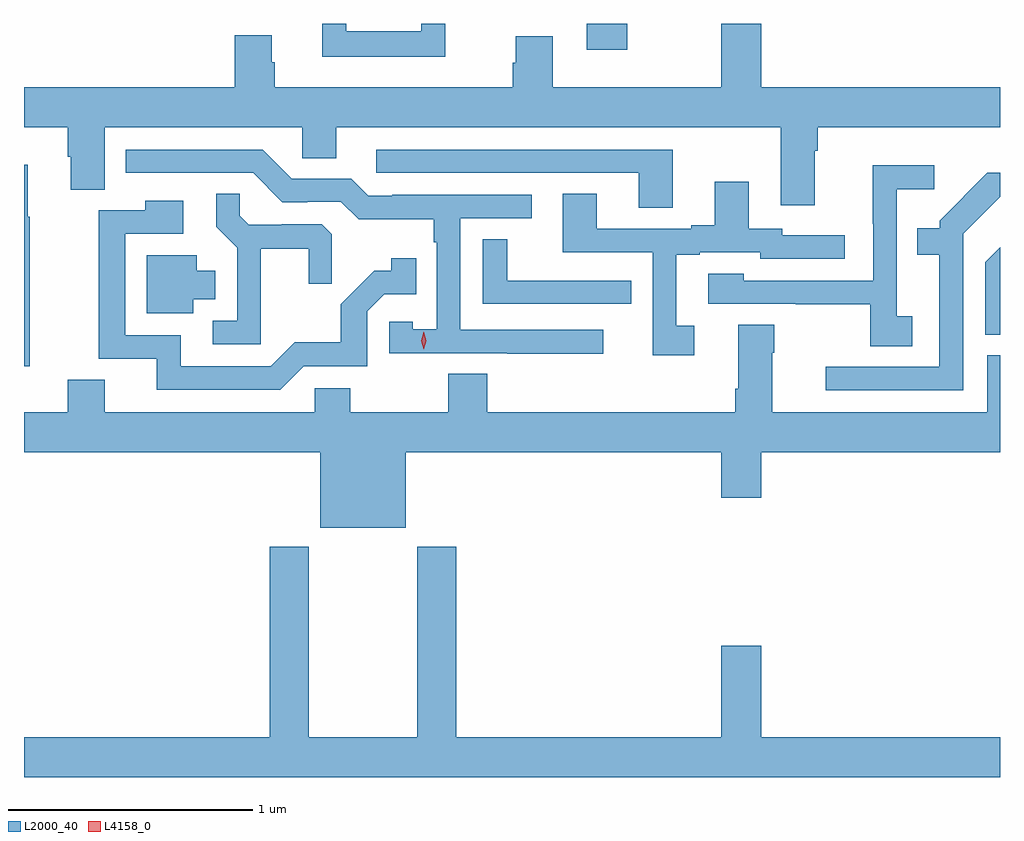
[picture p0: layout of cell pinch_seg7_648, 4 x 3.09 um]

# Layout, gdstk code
import gdstk
lib = gdstk.Library(unit=1e-6, precision=1e-09)
def R(c, l, rs):  # rectangles x0, y0, x1, y1
    for r in rs: c.add(gdstk.rectangle(r[:2], r[2:], *l))
def P(c, l, *ps):  # polygons
    for p in ps: c.add(gdstk.Polygon(p, *l))
L2000_40 = (2000, 40)
L4158_0 = (4158, 0)

pinch_seg7_648 = lib.new_cell('pinch_seg7_648')
R(pinch_seg7_648, L2000_40, [(212.408,1010.258,212.574,1010.363)])
P(pinch_seg7_648, L2000_40, [(211.828,1010.363),(211.731,1010.363),(211.731,1010.332),(211.422,1010.332),(211.422,1010.363),(211.325,1010.363),(211.325,1010.228),(211.828,1010.228)],
  [(213.343,1009.844),(213.356,1009.844),(213.356,1009.94),(214.102,1009.94),(214.102,1010.104),(213.124,1010.104),(213.124,1010.363),(212.96,1010.363),(212.96,1010.104),(212.27,1010.104),(212.27,1010.313),(212.117,1010.313),(212.117,1010.204),(212.105,1010.204),(212.105,1010.104),(211.13,1010.104),(211.13,1010.205),(211.117,1010.205),(211.117,1010.317),(210.965,1010.317),(210.965,1010.104),(210.102,1010.104),(210.102,1009.94),(210.281,1009.94),(210.281,1009.818),(210.293,1009.818),(210.293,1009.684),(210.433,1009.684),(210.433,1009.94),(211.242,1009.94),(211.242,1009.813),(211.381,1009.813),(211.381,1009.94),(213.203,1009.94),(213.203,1009.62),(213.343,1009.62)],
  [(212.476,1009.11),(211.89,1009.11),(211.89,1009.566),(212.182,1009.566),(212.182,1009.662),(211.612,1009.662),(211.612,1009.659),(211.512,1009.659),(211.443,1009.728),(211.2,1009.728),(211.08,1009.848),(210.518,1009.848),(210.518,1009.752),(211.041,1009.752),(211.161,1009.632),(211.262,1009.632),(211.262,1009.635),(211.401,1009.635),(211.474,1009.562),(211.782,1009.562),(211.782,1009.469),(211.794,1009.469),(211.794,1009.111),(211.695,1009.111),(211.695,1009.143),(211.599,1009.143),(211.599,1009.014),(212.083,1009.014),(212.083,1009.012),(212.476,1009.012)],
  [(212.761,1009.848),(211.545,1009.848),(211.545,1009.752),(212.621,1009.752),(212.621,1009.609),(212.761,1009.609)],
  [(210.126,1009.573),(210.118,1009.573),(210.118,1009.786),(210.102,1009.786),(210.102,1008.96),(210.126,1008.96)],
  [(213.742,1009.164),(213.678,1009.164),(213.678,1009.685),(213.832,1009.685),(213.832,1009.783),(213.58,1009.783),(213.58,1009.544),(213.582,1009.544),(213.582,1009.311),(213.051,1009.311),(213.051,1009.339),(212.907,1009.339),(212.907,1009.215),(213.265,1009.215),(213.265,1009.213),(213.57,1009.213),(213.57,1009.042),(213.742,1009.042)],
  [(213.951,1009.503),(214.102,1009.654),(214.102,1009.752),(214.05,1009.752),(213.855,1009.557),(213.855,1009.525),(213.763,1009.525),(213.763,1009.416),(213.854,1009.416),(213.854,1008.957),(213.387,1008.957),(213.387,1008.861),(213.951,1008.861)],
  [(212.848,1009.125),(212.776,1009.125),(212.776,1009.416),(212.872,1009.416),(212.872,1009.428),(213.12,1009.428),(213.12,1009.401),(213.466,1009.401),(213.466,1009.497),(213.21,1009.497),(213.21,1009.524),(213.073,1009.524),(213.073,1009.717),(212.933,1009.717),(212.933,1009.537),(212.837,1009.537),(212.837,1009.524),(212.449,1009.524),(212.449,1009.667),(212.309,1009.667),(212.309,1009.428),(212.679,1009.428),(212.679,1009.005),(212.848,1009.005)],
  [(211.073,1009.442),(211.27,1009.442),(211.27,1009.299),(211.364,1009.299),(211.364,1009.501),(211.323,1009.542),(211.158,1009.542),(211.158,1009.539),(211.024,1009.539),(210.987,1009.576),(210.987,1009.667),(210.889,1009.667),(210.889,1009.531),(210.975,1009.445),(210.975,1009.146),(210.876,1009.146),(210.876,1009.05),(211.073,1009.05)],
  [(211.248,1008.96),(211.509,1008.96),(211.509,1009.185),(211.578,1009.254),(211.709,1009.254),(211.709,1009.402),(211.608,1009.402),(211.608,1009.352),(211.538,1009.352),(211.401,1009.214),(211.401,1009.059),(211.212,1009.059),(211.113,1008.96),(210.745,1008.96),(210.745,1009.086),(210.516,1009.086),(210.516,1009.503),(210.754,1009.503),(210.754,1009.639),(210.598,1009.639),(210.598,1009.599),(210.408,1009.599),(210.408,1008.99),(210.647,1008.99),(210.647,1008.864),(211.152,1008.864)],
  [(212.59,1009.31),(212.477,1009.31),(212.477,1009.311),(212.082,1009.311),(212.082,1009.481),(211.983,1009.481),(211.983,1009.215),(212.59,1009.215)],
  [(214.102,1009.448),(214.041,1009.387),(214.041,1009.089),(214.102,1009.089)],
  [(210.796,1009.235),(210.886,1009.235),(210.886,1009.351),(210.811,1009.351),(210.811,1009.414),(210.605,1009.414),(210.605,1009.178),(210.796,1009.178)],
  [(211.293,1008.772),(210.433,1008.772),(210.433,1008.905),(210.281,1008.905),(210.281,1008.772),(210.102,1008.772),(210.102,1008.608),(211.316,1008.608),(211.316,1008.299),(211.666,1008.299),(211.666,1008.608),(212.96,1008.608),(212.96,1008.42),(213.124,1008.42),(213.124,1008.608),(214.102,1008.608),(214.102,1009.004),(214.049,1009.004),(214.049,1008.772),(213.169,1008.772),(213.169,1009.016),(213.177,1009.016),(213.177,1009.129),(213.029,1009.129),(213.029,1008.868),(213.017,1008.868),(213.017,1008.772),(212,1008.772),(212,1008.929),(211.84,1008.929),(211.84,1008.772),(211.44,1008.772),(211.44,1008.87),(211.293,1008.87)],
  [(214.102,1007.44),(213.124,1007.44),(213.124,1007.815),(212.96,1007.815),(212.96,1007.44),(211.874,1007.44),(211.874,1008.22),(211.714,1008.22),(211.714,1007.44),(211.269,1007.44),(211.269,1008.22),(211.109,1008.22),(211.109,1007.44),(210.102,1007.44),(210.102,1007.276),(214.102,1007.276)])
P(pinch_seg7_648, L4158_0, [(211.741,1009.03),(211.741,1009.03),(211.731,1009.065),(211.741,1009.101),(211.741,1009.101),(211.741,1009.101),(211.751,1009.065),(211.741,1009.03)])

lib.write_gds('pinch_seg7_648.gds')
